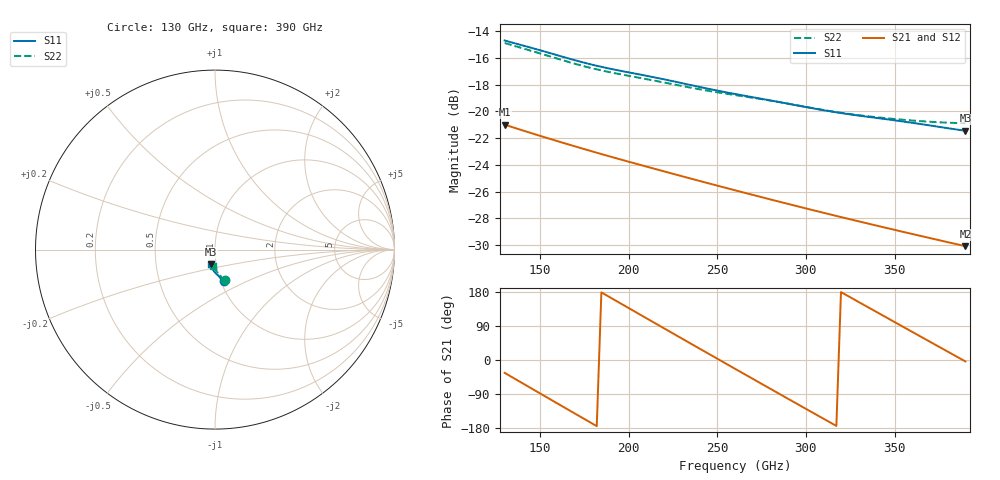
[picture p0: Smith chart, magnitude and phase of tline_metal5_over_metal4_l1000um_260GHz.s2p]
#  GHZ S DB R 50
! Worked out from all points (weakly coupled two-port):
!   101 points, 130 GHz to 390 GHz, reference 50 ohm
!   highest |S21| = -20.99 dB at 130 GHz (marker M1); lowest = -30.1 dB at 390 GHz (marker M2)
!   lowest |S11| = -21.4 dB at 390 GHz (marker M3), VSWR 1.18, Z = 47.1 - j7.7 ohm
!   |S11| at or under -10 dB: start of sweep to end of sweep
!   |S22| runs from -20.9 to -14.9 dB; largest |S21 - S12| = 1.3e-13
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130  -14.69 -73.3  -20.99 -33.9  -20.99 -33.9  -14.87 -72.0
140.4  -15.07 -75.2  -21.43 -62.1  -21.43 -62.1  -15.28 -73.7
150.8  -15.45 -77.3  -21.86 -90.3  -21.86 -90.3  -15.69 -75.4
161.2  -15.85 -79.2  -22.28 -118.4  -22.28 -118.4  -16.11 -77.0
174.2  -16.33 -81.3  -22.79 -153.5  -22.79 -153.5  -16.60 -78.5
182  -16.58 -82.4  -23.09 -174.5  -23.09 -174.5  -16.85 -79.3
192.4  -16.88 -83.8  -23.48 157.5  -23.48 157.5  -17.14 -80.4
205.4  -17.21 -85.9  -23.96 122.6  -23.96 122.6  -17.47 -82.0
218.4  -17.55 -88.1  -24.43 87.8  -24.43 87.8  -17.79 -83.7
228.8  -17.84 -89.9  -24.80 59.9  -24.80 59.9  -18.06 -85.0
239.2  -18.14 -91.4  -25.17 32.2  -25.17 32.2  -18.32 -86.2
249.6  -18.43 -92.8  -25.54 4.5  -25.54 4.5  -18.56 -87.3
260  -18.69 -94.2  -25.90 -23.1  -25.90 -23.1  -18.77 -88.4
270.4  -18.94 -95.5  -26.26 -50.7  -26.26 -50.7  -18.98 -89.6
280.8  -19.19 -96.8  -26.61 -78.2  -26.61 -78.2  -19.20 -90.8
291.2  -19.45 -98.1  -26.96 -105.6  -26.96 -105.6  -19.45 -92.0
304.2  -19.77 -99.4  -27.39 -139.9  -27.39 -139.9  -19.76 -93.1
314.6  -20.01 -100.3  -27.73 -167.2  -27.73 -167.2  -19.99 -93.7
325  -20.22 -101.2  -28.07 165.6  -28.07 165.6  -20.20 -94.1
348.4  -20.63 -103.2  -28.81 104.4  -28.81 104.4  -20.54 -95.0
371.8  -21.08 -105.3  -29.53 43.5  -29.53 43.5  -20.78 -95.7
390  -21.45 -106.4  -30.08 -3.7  -30.08 -3.7  -20.88 -96.4
